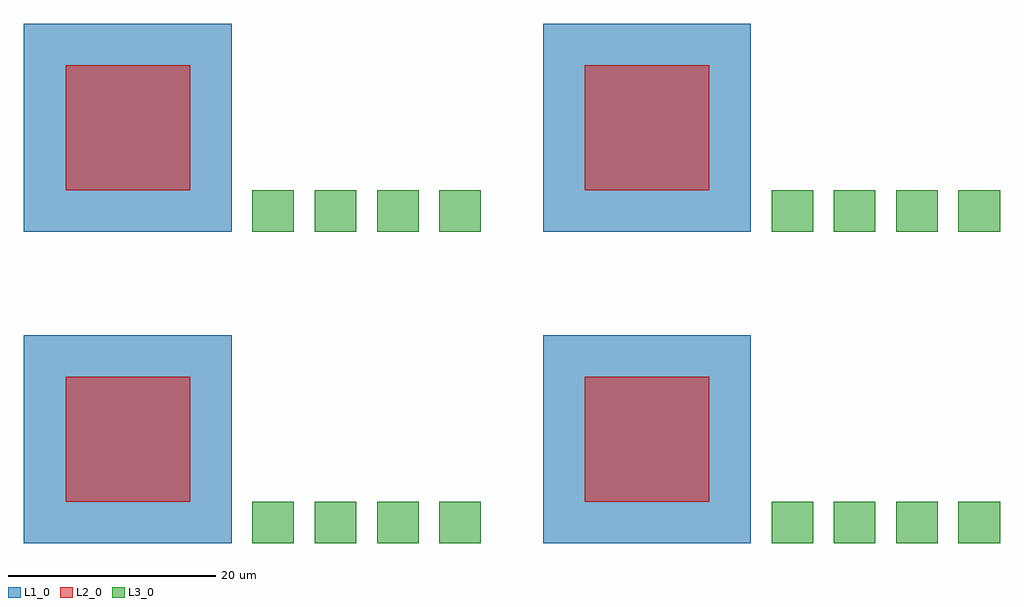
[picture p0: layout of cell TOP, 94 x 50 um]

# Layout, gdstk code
import gdstk
lib = gdstk.Library(unit=1e-6, precision=1e-09)
def R(c, l, rs):  # rectangles x0, y0, x1, y1
    for r in rs: c.add(gdstk.rectangle(r[:2], r[2:], *l))
def A(c, l, x, y, w, h, nx, ny, dx, dy):  # array of equal rectangles
    R(c, l, [(x+i*dx, y+j*dy, x+i*dx+w, y+j*dy+h) for i in range(nx) for j in range(ny)])
L1_0 = (1, 0)
L2_0 = (2, 0)
L3_0 = (3, 0)

test_cell = lib.new_cell('TEST_CELL')
R(test_cell, L1_0, [(0,0,20,20)])
R(test_cell, L2_0, [(4,4,16,16)])
A(test_cell, L3_0, 22, 0, 4, 4, 4, 1, 6, 0)
test_cell.add(gdstk.Label('ENGMAP', (0,22), layer=10, texttype=0))

top = lib.new_cell('TOP')
r = gdstk.Reference(test_cell, (0,0)); r.repetition = gdstk.Repetition(2, 2, v1=(50,0), v2=(0,30)); top.add(r)

lib.write_gds('TOP.gds')
